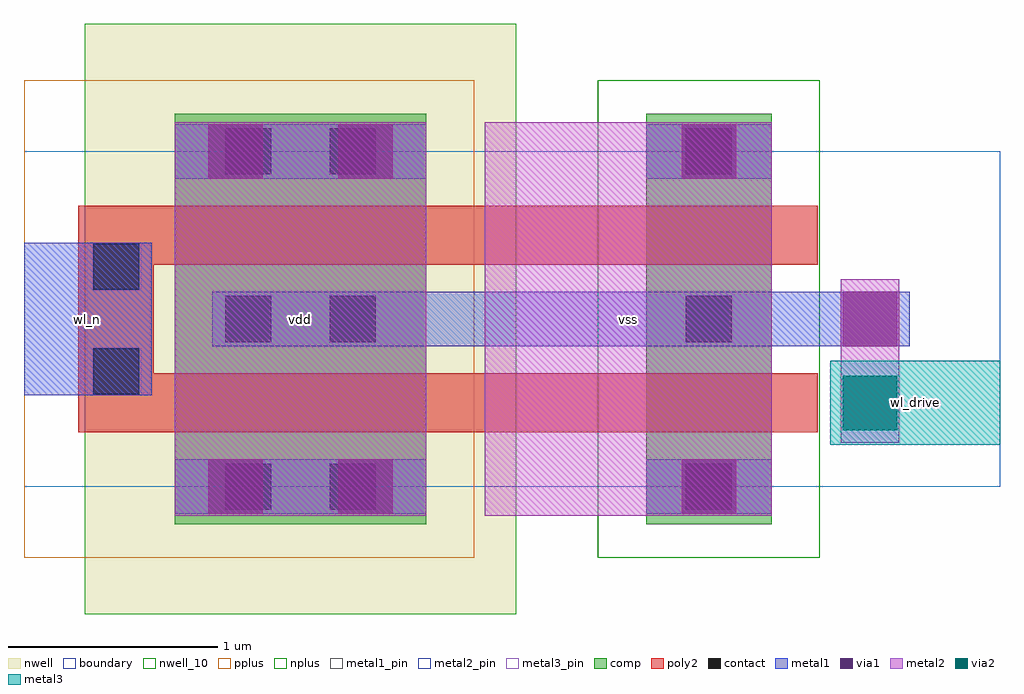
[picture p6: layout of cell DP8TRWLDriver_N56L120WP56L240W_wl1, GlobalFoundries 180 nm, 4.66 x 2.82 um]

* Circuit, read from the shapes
.subckt DP8TRWLDriver_N56L120WP56L240W_wl1 nwell vdd vss wl_drive wl_n
XM1 wl_drive wl_n vss VSUBS nfet_03v3 w=0.6u l=0.28u m=2
XM2 wl_drive wl_n vdd nwell pfet_03v3 w=1.2u l=0.28u m=2
.ends

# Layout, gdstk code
import gdstk
lib = gdstk.Library(unit=1e-6, precision=1e-09)
def R(c, l, rs):  # rectangles x0, y0, x1, y1
    for r in rs: c.add(gdstk.rectangle(r[:2], r[2:], *l))
def A(c, l, x, y, w, h, nx, ny, dx, dy):  # array of equal rectangles
    R(c, l, [(x+i*dx, y+j*dy, x+i*dx+w, y+j*dy+h) for i in range(nx) for j in range(ny)])
def P(c, l, *ps):  # polygons
    for p in ps: c.add(gdstk.Polygon(p, *l))
boundary = (0, 0)
nwell = (21, 0)
nwell_10 = (21, 10)
comp = (22, 0)
poly2 = (30, 0)
pplus = (31, 0)
nplus = (32, 0)
contact = (33, 0)
metal1 = (34, 0)
metal1_pin = (34, 10)
via1 = (35, 0)
metal2 = (36, 0)
metal2_pin = (36, 10)
via2 = (38, 0)
metal3 = (42, 0)
metal3_pin = (42, 10)

dp8trwldriver_n56l120wp5 = lib.new_cell('DP8TRWLDriver_N56L120WP56L240W_wl1')
R(dp8trwldriver_n56l120wp5, boundary, [(-4.66,0,0,1.6)])
R(dp8trwldriver_n56l120wp5, nwell, [(-4.37,-0.61,-2.31,2.21)])
R(dp8trwldriver_n56l120wp5, nwell_10, [(-4.37,-0.61,-2.31,2.21)])
R(dp8trwldriver_n56l120wp5, comp, [(-3.94,-0.18,-2.74,1.78), (-3.94,-0.18,-2.74,1.78), (-1.69,-0.18,-1.09,1.78), (-1.69,-0.18,-1.09,1.78)])
P(dp8trwldriver_n56l120wp5, poly2, [(-4.4,0.26),(-4.4,1.34),(-0.87,1.34),(-0.87,1.06),(-4.04,1.06),(-4.04,0.54),(-0.87,0.54),(-0.87,0.26)])
R(dp8trwldriver_n56l120wp5, pplus, [(-4.66,-0.34,-2.51,1.94)])
R(dp8trwldriver_n56l120wp5, nplus, [(-1.92,-0.34,-0.86,1.94)])
A(dp8trwldriver_n56l120wp5, contact, -3.7, -0.11, 0.22, 0.22, 1, 3, 0, 0.8)
A(dp8trwldriver_n56l120wp5, contact, -3.2, -0.11, 0.22, 0.22, 1, 3, 0, 0.8)
A(dp8trwldriver_n56l120wp5, contact, -1.5, -0.11, 0.22, 0.22, 1, 3, 0, 0.8)
R(dp8trwldriver_n56l120wp5, contact, [(-4.33,0.44,-4.11,0.66), (-4.33,0.94,-4.11,1.16)])
R(dp8trwldriver_n56l120wp5, metal1, [(-3.94,-0.13,-2.74,0.13), (-1.69,-0.13,-1.09,0.13), (-4.66,0.435,-4.05,1.165), (-3.76,0.67,-0.43,0.93), (-3.94,1.47,-2.74,1.73), (-1.69,1.47,-1.09,1.73)])
R(dp8trwldriver_n56l120wp5, metal1_pin, [(-4.66,0.435,-4.05,1.165)])
R(dp8trwldriver_n56l120wp5, via1, [(-3.78,-0.13,-3.52,0.13), (-3.16,-0.13,-2.9,0.13), (-1.52,-0.13,-1.26,0.13), (-0.75,0.67,-0.49,0.93), (-3.78,1.47,-3.52,1.73), (-3.16,1.47,-2.9,1.73), (-1.52,1.47,-1.26,1.73)])
R(dp8trwldriver_n56l120wp5, metal2, [(-3.94,-0.14,-2.74,1.74), (-2.46,-0.14,-1.09,1.74), (-0.76,0.21,-0.48,0.99)])
R(dp8trwldriver_n56l120wp5, metal2_pin, [(-3.94,-0.14,-2.74,1.74), (-2.46,-0.14,-1.09,1.74)])
R(dp8trwldriver_n56l120wp5, via2, [(-0.75,0.27,-0.49,0.53)])
R(dp8trwldriver_n56l120wp5, metal3, [(-0.81,0.2,0,0.6)])
R(dp8trwldriver_n56l120wp5, metal3_pin, [(-0.81,0.2,0,0.6)])
dp8trwldriver_n56l120wp5.add(gdstk.Label('vss', (-1.775,0.8), layer=36, texttype=10))
dp8trwldriver_n56l120wp5.add(gdstk.Label('vdd', (-3.34,0.8), layer=36, texttype=10))
dp8trwldriver_n56l120wp5.add(gdstk.Label('wl_drive', (-0.405,0.4), layer=42, texttype=10))
dp8trwldriver_n56l120wp5.add(gdstk.Label('nwell', (-3.34,0.8), layer=21, texttype=10))
dp8trwldriver_n56l120wp5.add(gdstk.Label('wl_n', (-4.355,0.8), layer=34, texttype=10))

lib.write_gds('DP8TRWLDriver_N56L120WP56L240W_wl1.gds')
